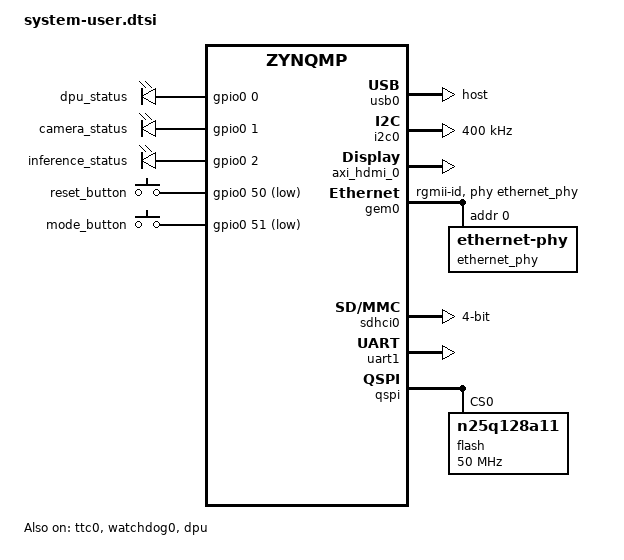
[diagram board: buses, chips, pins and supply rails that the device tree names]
/*
 * Device tree modifications for YOLOv3 on PYNQ-Z2
 * Additions for USB webcam, HDMI output, and DPU support
 */

/include/ "system-conf.dtsi"
#include <dt-bindings/gpio/gpio.h>
#include <dt-bindings/phy/phy.h>

/* USB configuration for webcam support */
&usb0 {
    status = "okay";
    dr_mode = "host";
    phy_type = "ulpi";
};

/* I2C configuration for camera sensors */
&i2c0 {
    status = "okay";
    clock-frequency = <400000>;

    /* Example: Add camera sensor if needed */
    /*
    camera@21 {
        compatible = "ovti,ov5640";
        reg = <0x21>;
        clocks = <&clkc 15>;
        clock-names = "xclk";
        reset-gpios = <&gpio0 7 GPIO_ACTIVE_LOW>;

        port {
            camera_out: endpoint {
                remote-endpoint = <&csi_in>;
            };
        };
    };
    */
};

/* HDMI output configuration */
&axi_hdmi_0 {
    status = "okay";
};

/* DPU memory reservation for YOLOv3 model */
/ {
    reserved-memory {
        #address-cells = <1>;
        #size-cells = <1>;
        ranges;

        dpu_reserved: dpu@4f000000 {
            no-map;
            reg = <0x4f000000 0x01000000>; /* 16MB reserved for DPU */
        };

        video_buffers: video@50000000 {
            no-map;
            reg = <0x50000000 0x08000000>; /* 128MB for video buffers */
        };
    };

    /* Add DPU device */
    dpu: dpu@43c00000 {
        compatible = "xlnx,dpu";
        reg = <0x43c00000 0x10000>;
        interrupt-parent = <&intc>;
        interrupts = <0 29 4>;
        clocks = <&clkc 15>, <&clkc 16>;
        clock-names = "dpu_clk", "dpu_dsp_clk";
        memory-region = <&dpu_reserved>;
        status = "okay";
    };

    /* Add custom LEDs for status indication */
    leds {
        compatible = "gpio-leds";

        dpu_status_led {
            label = "dpu_status";
            gpios = <&gpio0 0 GPIO_ACTIVE_HIGH>;
            default-state = "off";
        };

        camera_status_led {
            label = "camera_status";
            gpios = <&gpio0 1 GPIO_ACTIVE_HIGH>;
            default-state = "off";
        };

        inference_status_led {
            label = "inference_status";
            gpios = <&gpio0 2 GPIO_ACTIVE_HIGH>;
            default-state = "off";
        };
    };

    /* Add buttons for user interaction */
    keys {
        compatible = "gpio-keys";

        button_reset {
            label = "reset_button";
            gpios = <&gpio0 50 GPIO_ACTIVE_LOW>;
            linux,code = <KEY_RESTART>;
        };

        button_mode {
            label = "mode_button";
            gpios = <&gpio0 51 GPIO_ACTIVE_LOW>;
            linux,code = <KEY_MODE>;
        };
    };
};

/* Ethernet configuration for network access */
&gem0 {
    status = "okay";
    phy-mode = "rgmii-id";
    phy-handle = <&ethernet_phy>;
    ethernet_phy: ethernet-phy@0 {
        reg = <0>;
        device_type = "ethernet-phy";
    };
};

/* SD card configuration */
&sdhci0 {
    status = "okay";
    bus-width = <4>;
    max-frequency = <50000000>;
    no-1-8-v;
    disable-wp;
};

/* UART configuration for debugging */
&uart1 {
    status = "okay";
};

/* GPIO configuration */
&gpio0 {
    status = "okay";
    gpio-line-names = "dpu_status_led", "camera_status_led", "inference_status_led",
                      "", "", "", "", "", "", "", "", "", "", "", "", "",
                      "", "", "", "", "", "", "", "", "", "", "", "", "", "", "",
                      "", "", "", "", "", "", "", "", "", "", "", "", "", "", "",
                      "", "", "", "", "", "", "", "", "", "", "", "", "", "", "",
                      "", "", "", "", "", "", "", "", "", "", "", "", "", "", "",
                      "", "", "", "", "", "", "", "", "", "", "", "", "", "", "",
                      "", "", "", "", "", "", "", "", "", "", "", "", "", "", "",
                      "", "", "", "", "", "", "", "", "", "", "", "", "", "reset_button", "mode_button";
};

/* Clock configuration */
&clkc {
    fclk-enable = <0xf>;
    clock-frequency = <100000000>;
};

/* DMA configuration for video processing */
&axi_dma_0 {
    status = "okay";
};

/* SPI configuration for potential camera interfaces */
&qspi {
    status = "okay";
    is-dual = <0>;
    num-cs = <1>;
    flash@0 {
        compatible = "n25q128a11";
        reg = <0x0>;
        spi-tx-bus-width = <1>;
        spi-rx-bus-width = <4>;
        spi-max-frequency = <50000000>;
    };
};

/* Disable unused peripherals to save resources */
&can0 {
    status = "disabled";
};

&i2c1 {
    status = "disabled";
};

&spi0 {
    status = "disabled";
};

&spi1 {
    status = "disabled";
};

&ttc0 {
    status = "okay";
};

&watchdog0 {
    status = "okay";
    timeout-sec = <10>;
};

/* Add thermal zones for monitoring */
thermal-zones {
    cpu_thermal: cpu-thermal {
        polling-delay-passive = <250>;
        polling-delay = <1000>;

        thermal-sensors = <&cpu_temp_sensor 0>;

        trips {
            cpu_alert0: cpu-alert0 {
                temperature = <70000>; /* 70°C */
                hysteresis = <2000>;
                type = "passive";
            };

            cpu_crit: cpu-crit {
                temperature = <85000>; /* 85°C */
                hysteresis = <2000>;
                type = "critical";
            };
        };

        cooling-maps {
            map0 {
                trip = <&cpu_alert0>;
                cooling-device = <&CPU0 THERMAL_NO_LIMIT THERMAL_NO_LIMIT>;
            };
        };
    };
};

/* Add CPU temperature sensor */
cpu_temp_sensor: cpu-temp {
    compatible = "xilinx,zynqmp-thermal";
    #thermal-sensor-cells = <1>;
};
